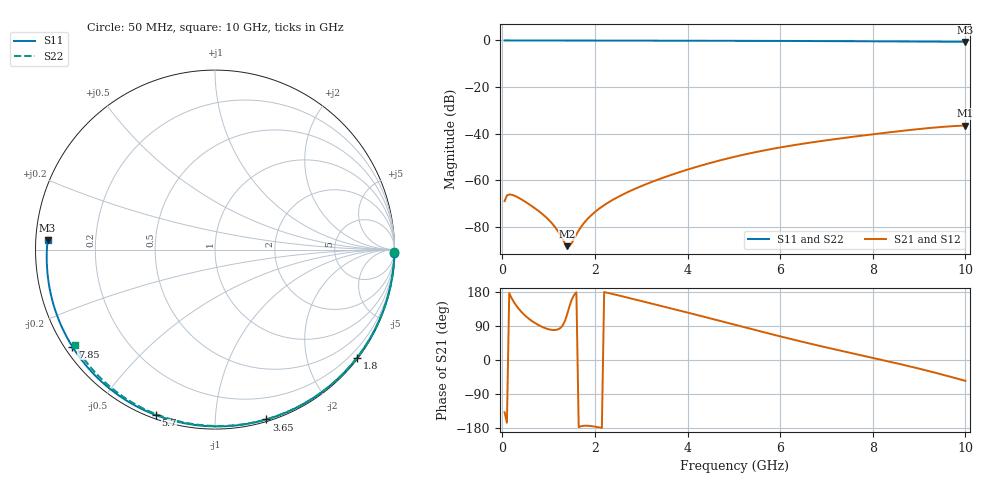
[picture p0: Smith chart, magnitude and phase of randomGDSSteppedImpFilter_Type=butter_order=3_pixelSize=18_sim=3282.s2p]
! freq	dB(S11)	phase(S11)	dB(S12)	phase(S12)
!  dB(S21)	phase(S21)	dB(S22)	phase(S22)
!S-par simulation data
#  GHz  S  DB  R 50
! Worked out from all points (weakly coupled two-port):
!   200 points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, 50 MHz to 10 GHz, reference 50 ohm
!   highest |S21| = -36.46 dB at 10 GHz (marker M1); lowest = -88.2 dB at 1.4 GHz (marker M2)
!   lowest |S11| = -0.6 dB at 10 GHz (marker M3), VSWR 29.37, Z = 1.7 + j1.44 ohm
!   |S11| at or under -10 dB: nowhere
!   |S22| runs from -0.5 to 0.0 dB; largest |S21 - S12| = 0
!   S11 on the Smith chart (normalised r, x): 50 MHz: open; 1.8 GHz: 0.03, -2.97; 3.65 GHz: 0.02, -1.35; 5.7 GHz: 0.02, -0.70; 7.85 GHz: 0.02, -0.31; 10 GHz: 0.03, +0.03
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0.05  -0.00 -1.1  -68.88 -137.8  -68.88 -137.8  -0.00 -0.8
0.1  -0.00 -2.1  -66.45 -165.7  -66.45 -165.7  -0.00 -1.7
0.25  -0.00 -5.3  -66.46 152.9  -66.46 152.9  -0.00 -4.2
0.75  -0.02 -15.7  -72.62 94.3  -72.62 94.3  -0.01 -12.7
1.15  -0.03 -24.0  -80.30 79.2  -80.30 79.2  -0.02 -19.3
1.4  -0.04 -29.1  -88.19 120.2  -88.19 120.2  -0.03 -23.5
1.7  -0.04 -35.2  -79.95 -174.8  -79.95 -174.8  -0.04 -28.4
1.75  -0.05 -36.2  -78.61 -173.7  -78.61 -173.7  -0.04 -29.2
1.8  -0.05 -37.3  -77.41 -173.4  -77.41 -173.4  -0.04 -30.0
2.05  -0.05 -42.3  -72.75 -176.9  -72.75 -176.9  -0.04 -34.1
2.4  -0.06 -49.2  -68.17 173.7  -68.17 173.7  -0.05 -39.7
2.85  -0.07 -58.0  -63.73 160.2  -63.73 160.2  -0.06 -46.9
3.4  -0.09 -68.5  -59.37 143.5  -59.37 143.5  -0.07 -55.5
3.65  -0.10 -73.2  -57.62 135.9  -57.62 135.9  -0.08 -59.3
4.35  -0.12 -86.0  -53.30 114.3  -53.30 114.3  -0.10 -69.9
5.05  -0.15 -98.4  -49.70 92.2  -49.70 92.2  -0.12 -80.1
5.7  -0.18 -109.7  -46.96 71.6  -46.96 71.6  -0.15 -89.3
6.7  -0.25 -126.6  -43.65 41.6  -43.65 41.6  -0.20 -103.0
7.85  -0.34 -145.8  -40.60 9.7  -40.60 9.7  -0.28 -118.2
8.35  -0.39 -154.2  -39.40 -4.0  -39.40 -4.0  -0.32 -124.7
9.2  -0.49 -168.9  -37.58 -28.9  -37.58 -28.9  -0.40 -135.7
10  -0.59 176.7  -36.46 -55.0  -36.46 -55.0  -0.49 -145.9
